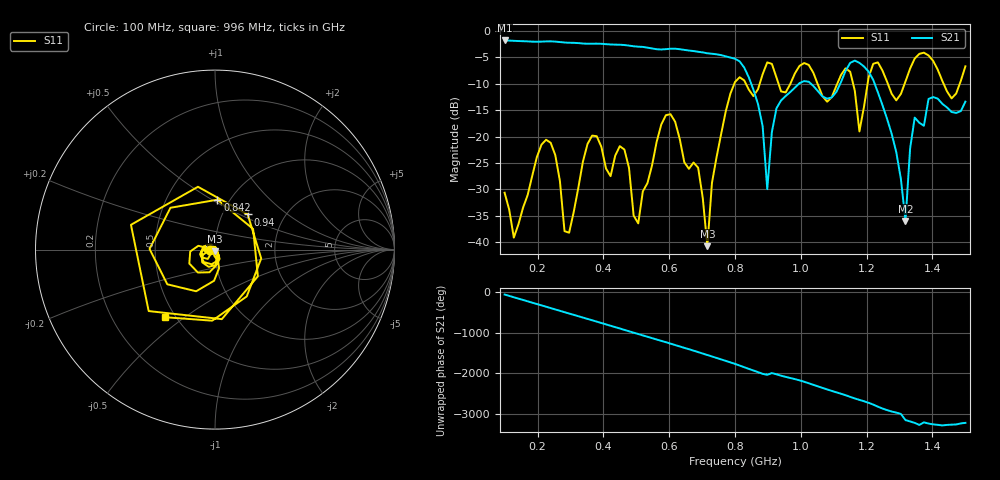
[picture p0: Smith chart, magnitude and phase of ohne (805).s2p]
! NanoVNA-App
! Date: 2025-09-25 14:27:04
! Start: 100MHz Stop: 1,5GHz Points: 101
! S-Parameter data: F S11 S21 S12 S22
# Hz S RI R 50
!  Frequency  S11_Real  S11_Imag  S21_Real  S21_Imag  S12_Real  S12_Imag  S22_Real  S22_Imag
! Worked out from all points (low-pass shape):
!   101 points, 100 MHz to 1.5 GHz, reference 50 ohm
!   highest |S21| = -1.79 dB at 100 MHz (marker M1); lowest = -36.0 dB at 1.318 GHz (marker M2)
!   |S21| within 3 dB of the highest: start of sweep to 771.3 MHz
!   lowest |S11| = -40.8 dB at 716 MHz (marker M3), VSWR 1.02, Z = 49.9 - j0.903 ohm
!   |S11| at or under -10 dB: start of sweep to 797.9 MHz; 833.1 MHz to 875 MHz (41.9 MHz wide, 4.91 % of centre); 1.051 GHz to 1.111 GHz (59.75 MHz wide, 5.53 % of centre) (the widest 3 of 7)
!   S12 and S22 are empty: the file has one direction only
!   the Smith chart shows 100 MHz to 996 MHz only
!   S11 on the Smith chart (normalised r, x): 100 MHz: 0.94, -0.01; 842 MHz: 0.88, +0.53; 940 MHz: 1.31, +0.55; 996 MHz: 0.44, -0.43
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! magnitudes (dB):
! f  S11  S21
! 100 MHz  -30.6  -1.8
! 128 MHz  -39.1  -1.9
! 226 MHz  -20.6  -2.0
! 296 MHz  -38.2  -2.2
! 338 MHz  -24.7  -2.4
! 464 MHz  -22.5  -2.7
! 506 MHz  -36.4  -3.0
! 576 MHz  -17.7  -3.5
! 688 MHz  -25.9  -3.9
! 716 MHz  -40.8  -4.2
! 800 MHz  -9.7  -5.3
! 842 MHz  -11.1  -8.8
! 898 MHz  -6.0  -30.0
! 940 MHz  -11.5  -13.2
! 996 MHz  -6.6  -9.9
! 1.038 GHz  -7.9  -10.4
! 1.178 GHz  -19.0  -6.0
! 1.22 GHz  -6.2  -9.3
! 1.276 GHz  -11.9  -19.5
! 1.318 GHz  -9.6  -36.0
! 1.346 GHz  -5.2  -16.4
! 1.5 GHz  -6.7  -13.4
